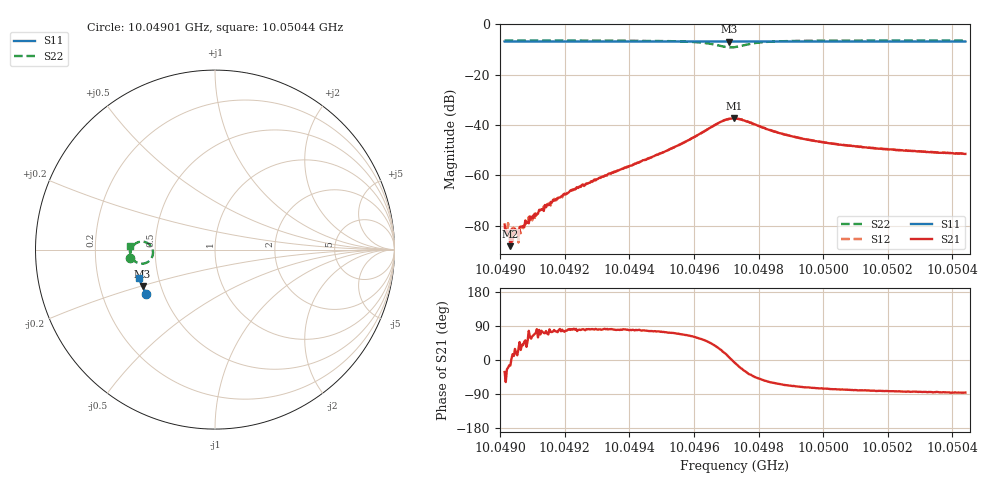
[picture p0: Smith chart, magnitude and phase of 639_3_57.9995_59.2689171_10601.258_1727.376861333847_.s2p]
#  HZ  S  RI  R  50.00
! Rohde & Schwarz Vector Network Analyzer
! Rohde-Schwarz,ZNB20-2Port,1311601062101988,3.16
! Created: UTC 3/21/2024, 1:18:59 AM
! freq[Hz]  re:S11  im:S11  re:S21  im:S21  re:S12  im:S12  re:S22  im:S22
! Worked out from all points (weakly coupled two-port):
!   401 points, 10.04901 GHz to 10.05044 GHz, reference 50 ohm
!   highest |S21| = -37.39 dB at 10.04972 GHz (marker M1); lowest = -88.1 dB at 10.04903 GHz (marker M2)
!   lowest |S11| = -6.9 dB at 10.04971 GHz (marker M3), VSWR 2.65, Z = 19.8 - j10.2 ohm
!   |S11| at or under -10 dB: nowhere
!   |S22| runs from -9.2 to -6.5 dB; largest |S21 - S12| = 0.0012
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1.0049014e10  -0.3832 -0.2451  9.01e-05 -5.58e-05  9.61e-05 -1.79e-05  -0.4732 -0.0485
1.0049031e10  -0.3839 -0.2442  3.81e-05 -9.91e-06  6.38e-05 -1.81e-05  -0.4733 -0.047
1.0049067e10  -0.385 -0.2421  7.34e-05 6.28e-05  5.86e-05 5.45e-05  -0.4734 -0.044
1.0049078e10  -0.3853 -0.2414  7.86e-05 0.000101  4.98e-05 9.42e-05  -0.4735 -0.043
1.0049096e10  -0.3859 -0.2405  7.76e-05 0.000117  5.22e-05 0.000133  -0.4733 -0.0416
1.0049099e10  -0.3862 -0.2403  7.01e-05 0.000136  7.57e-05 0.000104  -0.4733 -0.0412
1.0049117e10  -0.3867 -0.2393  8.78e-05 0.00015  7.76e-05 0.00018  -0.4735 -0.0395
1.0049142e10  -0.3876 -0.2377  5.47e-05 0.000227  5.84e-05 0.000247  -0.4734 -0.0373
1.0049192e10  -0.3892 -0.2348  6.87e-05 0.000387  5.5e-05 0.000364  -0.4732 -0.0327
1.0049253e10  -0.3911 -0.2312  0.000103 0.000627  4.04e-05 0.000643  -0.473 -0.0266
1.0049491e10  -0.3984 -0.2173  0.000668 0.00258  0.000522 0.0026  -0.465 0.00704
1.0049577e10  -0.4009 -0.2121  0.00196 0.00435  0.00172 0.00446  -0.45 0.0279
1.0049652e10  -0.4027 -0.2075  0.00642 0.00628  0.006 0.00664  -0.4043 0.0449
1.0049709e10  -0.4034 -0.2043  0.0131 0.00157  0.013 0.00244  -0.3466 -0.00556
1.0049723e10  -0.4038 -0.2037  0.0135 -0.00116  0.0135 6.22e-06  -0.3472 -0.0313
1.0049727e10  -0.4039 -0.2036  0.0133 -0.00186  0.0133 -0.00091  -0.349 -0.0373
1.0049755e10  -0.4049 -0.2024  0.0108 -0.00585  0.0113 -0.00506  -0.3782 -0.0712
1.0049816e10  -0.4071 -0.1991  0.00521 -0.00706  0.0057 -0.00665  -0.4352 -0.0721
1.004988e10  -0.4092 -0.1952  0.00264 -0.0059  0.00306 -0.00577  -0.458 -0.0531
1.0049966e10  -0.4116 -0.1899  0.0014 -0.00472  0.0017 -0.00465  -0.4685 -0.034
1.0050205e10  -0.4177 -0.1754  0.000433 -0.00324  0.00059 -0.00321  -0.4748 -0.00263
1.005044e10  -0.423 -0.1609  0.000189 -0.00266  0.000322 -0.00266  -0.4753 0.0185
